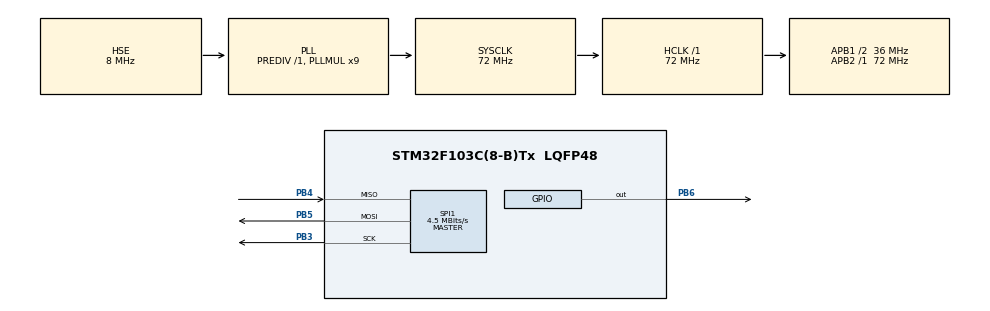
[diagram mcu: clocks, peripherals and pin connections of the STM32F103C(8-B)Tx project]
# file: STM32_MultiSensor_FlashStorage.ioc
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Mcu.Family=STM32F1
Mcu.Name=STM32F103C(8-B)Tx
Mcu.Package=LQFP48
NVIC.PriorityGroup=NVIC_PRIORITYGROUP_4
PA13.Mode=Serial_Wire
PA13.Signal=SYS_JTMS-SWDIO
PA14.Mode=Serial_Wire
PA14.Signal=SYS_JTCK-SWCLK
PB3.Mode=Full_Duplex_Master
PB3.Signal=SPI1_SCK
PB4.Mode=Full_Duplex_Master
PB4.Signal=SPI1_MISO
PB5.Mode=Full_Duplex_Master
PB5.Signal=SPI1_MOSI
PB6.GPIO_Speed=GPIO_SPEED_FREQ_HIGH
PB6.PinState=GPIO_PIN_SET
PB6.Signal=GPIO_Output
PD0-OSC_IN.Mode=HSE-External-Oscillator
PD0-OSC_IN.Signal=RCC_OSC_IN
PD1-OSC_OUT.Mode=HSE-External-Oscillator
PD1-OSC_OUT.Signal=RCC_OSC_OUT
ProjectManager.HeapSize=0x200
ProjectManager.StackSize=0x400
ProjectManager.TargetToolchain=STM32CubeIDE
RCC.AHBFreq_Value=72000000
RCC.APB1CLKDivider=RCC_HCLK_DIV2
RCC.APB1Freq_Value=36000000
RCC.APB1TimFreq_Value=72000000
RCC.APB2Freq_Value=72000000
RCC.APB2TimFreq_Value=72000000
RCC.HCLKFreq_Value=72000000
RCC.PLLMUL=RCC_PLL_MUL9
RCC.PLLSourceVirtual=RCC_PLLSOURCE_HSE
RCC.SYSCLKFreq_VALUE=72000000
RCC.SYSCLKSource=RCC_SYSCLKSOURCE_PLLCLK
RCC.USBFreq_Value=72000000
SPI1.BaudRatePrescaler=SPI_BAUDRATEPRESCALER_16
SPI1.CalculateBaudRate=4.5 MBits/s
SPI1.Direction=SPI_DIRECTION_2LINES
SPI1.Mode=SPI_MODE_MASTER
SPI1.VirtualType=VM_MASTER
board=custom

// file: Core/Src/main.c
/**
 ******************************************************************************
 * @file           : main.c
 * @author         : Rubin Khadka
 * @brief          : STM32 Multi Sensor Flash Data Logger Project main file
 ******************************************************************************
 */

#include "main.h"

/* USER CODE BEGIN Includes */

#include "button.h"
#include "lcd.h"
#include "mpu6050.h"
#include "tasks.h"
#include "timer2.h"
#include "timer3.h"
#include "uart.h"
#include "utils.h"
#include "dwt.h"
#include "ds18b20.h"
#include "w25q64.h"
#include "spi1.h"
#include "data_logger.h"

/* USER CODE END Includes */

/* USER CODE BEGIN PM */

#define DS18B20_READ_TICKS  100
#define MPU_READ_TICKS      5
#define LCD_UPDATE_TICKS    10
#define UART_UPDATE_TICKS   10

/* USER CODE END PM */

SPI_HandleTypeDef hspi1;

void SystemClock_Config(void);
static void MX_GPIO_Init(void);
static void MX_SPI1_Init(void);

int main(void)
{

  /* MCU Configuration--------------------------------------------------------*/

  /* Reset of all peripherals, Initializes the Flash interface and the Systick. */
  HAL_Init();

  /* Configure the system clock */
  SystemClock_Config();

  /* Initialize all configured peripherals */
  MX_GPIO_Init();
  MX_SPI1_Init();
  /* USER CODE BEGIN 2 */

  // Initialize ALL modules
  TIMER2_Init();
  USART1_Init();
  I2C2_Init();
  LCD_Init();
  MPU6050_Init();
  TIMER4_Init();
  DWT_Init();
  DS18B20_Init();
  SPI1_Init();

  // Loop counters
  uint8_t ds18b20_count = 0;
  uint8_t mpu_count = 0;
  uint8_t lcd_count = 0;
  uint8_t uart_count = 0;

  LCD_Clear();
  LCD_SendString("STM32 PROJECT");
  LCD_SetCursor(1, 0);
  LCD_SendString("INITIALIZING...");

  DWT_Delay_ms(2000);

  W25Q64_Reset();
  W25Q64_Init();

  DataLogger_Init();
  DWT_Delay_ms(1000);

  Button_Init();

  // Setup TIM3 for 10ms control loop
  TIMER3_SetupPeriod(10);  // 10ms period

  /* USER CODE END 2 */

  /* Infinite loop */
  while(1)
  {

    /* USER CODE BEGIN 3 */

    // Check buttons status
    Task_Button_Status();

    // Update feedback timer
    Task_Feedback_Update();

    // Run data logger task
    Task_DataLogger();

    // Run tasks at different rates
    // Read DS18B20 every 1 seconds
    if(ds18b20_count++ >= DS18B20_READ_TICKS)
    {
      Task_DS18B20_Read();
      ds18b20_count = 0;
    }

    // Read MPU6050 every 50ms
    if(mpu_count++ >= MPU_READ_TICKS)
    {
      Task_MPU6050_Read();
      mpu_count = 0;
    }

    // Update LCD every 100ms
    if(lcd_count++ >= LCD_UPDATE_TICKS)
    {
      Task_LCD_Update();
      lcd_count = 0;
    }

    // Update UART output every 100ms
    if(uart_count++ >= UART_UPDATE_TICKS)
    {
      // Task_UART_Output();
      uart_count = 0;
    }

    TIMER3_WaitPeriod();
  }

  /* USER CODE END 3 */
}

void SystemClock_Config(void)
{
  RCC_OscInitTypeDef RCC_OscInitStruct = {0};
  RCC_ClkInitTypeDef RCC_ClkInitStruct = {0};

  /** Initializes the RCC Oscillators according to the specified parameters
   * in the RCC_OscInitTypeDef structure.
   */
  RCC_OscInitStruct.OscillatorType = RCC_OSCILLATORTYPE_HSE;
  RCC_OscInitStruct.HSEState = RCC_HSE_ON;
  RCC_OscInitStruct.HSEPredivValue = RCC_HSE_PREDIV_DIV1;
  RCC_OscInitStruct.HSIState = RCC_HSI_ON;
  RCC_OscInitStruct.PLL.PLLState = RCC_PLL_ON;
  RCC_OscInitStruct.PLL.PLLSource = RCC_PLLSOURCE_HSE;
  RCC_OscInitStruct.PLL.PLLMUL = RCC_PLL_MUL9;
  if(HAL_RCC_OscConfig(&RCC_OscInitStruct) != HAL_OK)
  {
    Error_Handler();
  }

  /** Initializes the CPU, AHB and APB buses clocks
   */
  RCC_ClkInitStruct.ClockType = RCC_CLOCKTYPE_HCLK | RCC_CLOCKTYPE_SYSCLK | RCC_CLOCKTYPE_PCLK1 | RCC_CLOCKTYPE_PCLK2;
  RCC_ClkInitStruct.SYSCLKSource = RCC_SYSCLKSOURCE_PLLCLK;
  RCC_ClkInitStruct.AHBCLKDivider = RCC_SYSCLK_DIV1;
  RCC_ClkInitStruct.APB1CLKDivider = RCC_HCLK_DIV2;
  RCC_ClkInitStruct.APB2CLKDivider = RCC_HCLK_DIV1;

  if(HAL_RCC_ClockConfig(&RCC_ClkInitStruct, FLASH_LATENCY_2) != HAL_OK)
  {
    Error_Handler();
  }
}

static void MX_SPI1_Init(void)
{

  /* SPI1 parameter configuration*/
  hspi1.Instance = SPI1;
  hspi1.Init.Mode = SPI_MODE_MASTER;
  hspi1.Init.Direction = SPI_DIRECTION_2LINES;
  hspi1.Init.DataSize = SPI_DATASIZE_8BIT;
  hspi1.Init.CLKPolarity = SPI_POLARITY_LOW;
  hspi1.Init.CLKPhase = SPI_PHASE_1EDGE;
  hspi1.Init.NSS = SPI_NSS_SOFT;
  hspi1.Init.BaudRatePrescaler = SPI_BAUDRATEPRESCALER_16;
  hspi1.Init.FirstBit = SPI_FIRSTBIT_MSB;
  hspi1.Init.TIMode = SPI_TIMODE_DISABLE;
  hspi1.Init.CRCCalculation = SPI_CRCCALCULATION_DISABLE;
  hspi1.Init.CRCPolynomial = 10;
  if(HAL_SPI_Init(&hspi1) != HAL_OK)
  {
    Error_Handler();
  }

}

static void MX_GPIO_Init(void)
{
  GPIO_InitTypeDef GPIO_InitStruct = {0};

  /* GPIO Ports Clock Enable */
  __HAL_RCC_GPIOD_CLK_ENABLE();
  __HAL_RCC_GPIOA_CLK_ENABLE();
  __HAL_RCC_GPIOB_CLK_ENABLE();

  /*Configure GPIO pin Output Level */
  HAL_GPIO_WritePin(GPIOB, GPIO_PIN_6, GPIO_PIN_SET);

  /*Configure GPIO pin : PB6 */
  GPIO_InitStruct.Pin = GPIO_PIN_6;
  GPIO_InitStruct.Mode = GPIO_MODE_OUTPUT_PP;
  GPIO_InitStruct.Pull = GPIO_NOPULL;
  GPIO_InitStruct.Speed = GPIO_SPEED_FREQ_HIGH;
  HAL_GPIO_Init(GPIOB, &GPIO_InitStruct);

}

void Error_Handler(void)
{
  __disable_irq();
  while(1)
  {
  }
}
